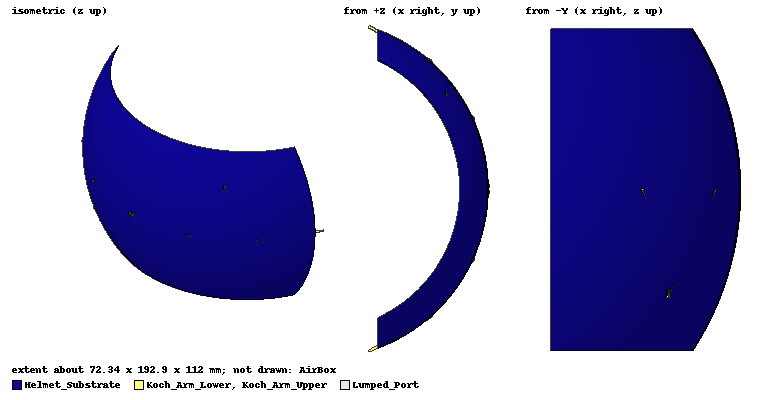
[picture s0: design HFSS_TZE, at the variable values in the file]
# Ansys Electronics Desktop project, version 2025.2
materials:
  vacuum: permittivity=1
  Kapton_Custom: permittivity=3.4 permeability=1 dielectric_loss_tangent=0.002
  copper: permeability=0.999991 conductivity=58000000
  air: permittivity=1.0006 permeability=1.0000004
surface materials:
  Steel-oxidised-surface

design HFSS_TZE (HFSS, HFSS Modal Network, model units mm)
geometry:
  Helmet_Substrate [Kapton_Custom] = sphere(centre=(0mm, 0mm, 0mm), radius=100mm)
  Helmet_Inner = sphere(centre=(0mm, 0mm, 0mm), radius=99.7mm)
  Helmet_Substrate.subtract(Helmet_Inner)
  Helmet_Substrate_xmin = box(corner=(-15mm, -145mm, -105mm), size=(50mm, 290mm, 210mm))
  Helmet_Substrate_xmax = box(corner=(105mm, -145mm, -105mm), size=(50mm, 290mm, 210mm))
  Helmet_Substrate_ymin = box(corner=(35mm, -145mm, -105mm), size=(70mm, 50mm, 210mm))
  Helmet_Substrate_ymax = box(corner=(35mm, 95mm, -105mm), size=(70mm, 50mm, 210mm))
  Helmet_Substrate_zmin = box(corner=(35mm, -95mm, -105mm), size=(70mm, 190mm, 50mm))
  Helmet_Substrate_zmax = box(corner=(35mm, -95mm, 55mm), size=(70mm, 190mm, 50mm))
  Helmet_Substrate.subtract(Helmet_Substrate_xmin, Helmet_Substrate_xmax, Helmet_Substrate_ymin, Helmet_Substrate_ymax, Helmet_Substrate_zmin, Helmet_Substrate_zmax)
  Kill_Left = box(corner=(-200mm, -200mm, -200mm), size=(235mm, 400mm, 400mm))
  Helmet_Substrate.subtract(Kill_Left)
  Koch_Arm_Upper [copper] = polyline(xyz in mm: (100.0125, 0.99998334, 6.1243056e-15) (90.915619, 41.687535, 6.1243056e-15) (74.983137, 55.815182, 35.576606) (66.021039, 75.13137, 6.1243056e-15) (29.654499, 95.520213, 6.1243056e-15), section rectangle width=1.5mm height=0.035mm)
  Koch_Arm_Lower [copper] = polyline(xyz in mm: (100.0125, -0.99998334, 6.1243056e-15) (90.915619, -41.687535, 6.1243056e-15) (74.983137, -55.815182, -35.576606) (66.021039, -75.13137, 6.1243056e-15) (29.654499, -95.520213, 6.1243056e-15), section rectangle width=1.5mm height=0.035mm)
  Koch_Arm_Upper_1 = Koch_Arm_Upper.copy()
  Koch_Arm_Lower_1 = Koch_Arm_Lower.copy()
  Helmet_Substrate.subtract(Koch_Arm_Upper_1, Koch_Arm_Lower_1)
  AirBox [air] = sphere(centre=(0mm, 0mm, 0mm), radius=150mm)
  Lumped_Port = rectangle(corner=(100.0175mm, -2.25mm, -1mm), y_size=4.5mm, z_size=2mm)
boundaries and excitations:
  Rad__ZV47G1: Radiation Objects=AirBox
  Port1: Lumped Port Objects=Lumped_Port LumpedPortType=Modal Modes{Mode1{IntLine{(100.0175, 0, -1) -> (100.0175, 0, 1)} CharImp=Zpi RenormImp=50ohm}} Impedance=50ohm
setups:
  Setup_UHF: HfssDriven Frequency=0.43GHz MaxDeltaS=0.02 MaximumPasses=6 MinimumPasses=5 MinimumConvergedPasses=1 PercentRefinement=30 BasisOrder=1 PortAccuracy=2 DrivenSolverType="Direct Solver"
    sweep Sweep_UHF_L: 0.3GHz to 1.6GHz, 131 points; Type=Discrete
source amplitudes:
  Port1:1: 1W 0deg
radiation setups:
  Infinite Sphere1: Infinite Sphere Theta=180deg..360deg step 2deg Phi=0deg..360deg step 5deg
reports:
  S Parameter Plot1: dB(S(Port1,Port1)) vs Freq on Setup_UHF : Sweep_UHF_L; markers m1 at 0.47GHz, m2 at 1.39GHz
  Gain Plot1: GainTotal vs Phi, Theta on Setup_UHF : LastAdaptive, Infinite Sphere1 [Freq=0.43GHz]
